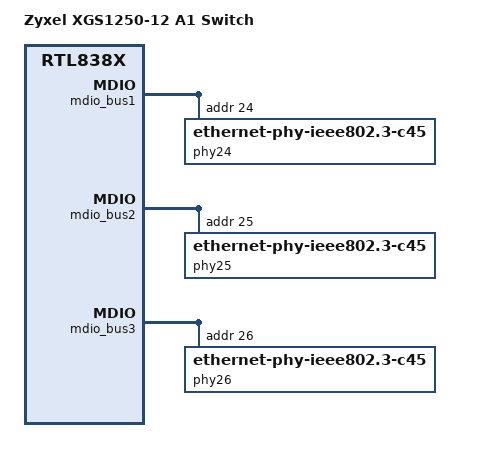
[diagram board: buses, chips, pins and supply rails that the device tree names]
// SPDX-License-Identifier: GPL-2.0-or-later
/dts-v1/;

#include "rtl9302_zyxel_xgs1250-12-common.dtsi"

/ {
	compatible = "zyxel,xgs1250-12-a1", "realtek,rtl838x-soc";
	model = "Zyxel XGS1250-12 A1 Switch";
};

&mdio_bus1 {
	/* External Aquantia 113C PHYs */
	phy24: ethernet-phy@24 {
		reg = <24>;
		compatible = "ethernet-phy-ieee802.3-c45";
		realtek,smi-address = <8>;
		// Disabled because we do not know how to bring up again
		// reset-gpios = <&gpio0 21 GPIO_ACTIVE_LOW>;
		#thermal-sensor-cells = <0>;
	};
};

&mdio_bus2 {
	phy25: ethernet-phy@25 {
		reg = <25>;
		compatible = "ethernet-phy-ieee802.3-c45";
		realtek,smi-address = <8>;
		// Disabled because we do not know how to bring up again
		// reset-gpios = <&gpio0 21 GPIO_ACTIVE_LOW>;
		#thermal-sensor-cells = <0>;
	};
};

&mdio_bus3 {
	phy26: ethernet-phy@26 {
		reg = <26>;
		compatible = "ethernet-phy-ieee802.3-c45";
		realtek,smi-address = <8>;
		// Disabled because we do not know how to bring up again
		// reset-gpios = <&gpio0 21 GPIO_ACTIVE_LOW>;
		#thermal-sensor-cells = <0>;
	};
};
